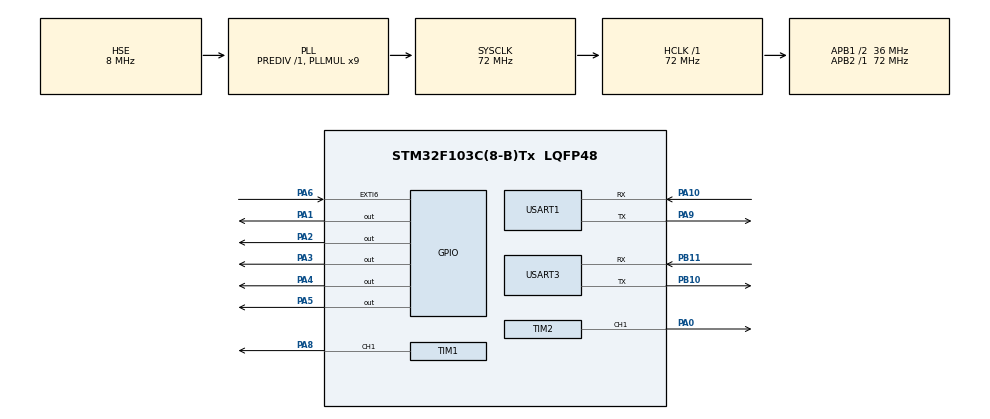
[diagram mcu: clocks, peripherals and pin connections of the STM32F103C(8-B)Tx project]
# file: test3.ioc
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Mcu.Family=STM32F1
Mcu.Name=STM32F103C(8-B)Tx
Mcu.Package=LQFP48
NVIC.EXTI9_5_IRQn=true\:0\:0\:false\:false\:true\:true\:true\:true
NVIC.PriorityGroup=NVIC_PRIORITYGROUP_4
NVIC.USART1_IRQn=true\:0\:0\:false\:false\:true\:true\:true\:true
PA0-WKUP.Signal=S_TIM2_CH1_ETR
PA1.GPIO_PuPd=GPIO_NOPULL
PA1.Signal=GPIO_Output
PA10.Mode=Asynchronous
PA10.Signal=USART1_RX
PA2.Signal=GPIO_Output
PA3.Signal=GPIO_Output
PA4.Signal=GPIO_Output
PA5.Signal=GPIO_Output
PA6.GPIO_ModeDefaultEXTI=GPIO_MODE_IT_FALLING
PA6.Signal=GPXTI6
PA8.Signal=S_TIM1_CH1
PA9.Mode=Asynchronous
PA9.Signal=USART1_TX
PB10.Mode=Asynchronous
PB10.Signal=USART3_TX
PB11.Mode=Asynchronous
PB11.Signal=USART3_RX
PD0-OSC_IN.Mode=HSE-External-Oscillator
PD0-OSC_IN.Signal=RCC_OSC_IN
PD1-OSC_OUT.Mode=HSE-External-Oscillator
PD1-OSC_OUT.Signal=RCC_OSC_OUT
ProjectManager.HeapSize=0x200
ProjectManager.StackSize=0x400
ProjectManager.TargetToolchain=STM32CubeIDE
RCC.AHBFreq_Value=72000000
RCC.APB1CLKDivider=RCC_HCLK_DIV2
RCC.APB1Freq_Value=36000000
RCC.APB1TimFreq_Value=72000000
RCC.APB2Freq_Value=72000000
RCC.APB2TimFreq_Value=72000000
RCC.HCLKFreq_Value=72000000
RCC.PLLMUL=RCC_PLL_MUL9
RCC.PLLSourceVirtual=RCC_PLLSOURCE_HSE
RCC.SYSCLKFreq_VALUE=72000000
RCC.SYSCLKSource=RCC_SYSCLKSOURCE_PLLCLK
RCC.USBFreq_Value=72000000
SH.S_TIM1_CH1.0=TIM1_CH1,Output Compare1 CH1
SH.S_TIM2_CH1_ETR.0=TIM2_CH1,Output Compare1 CH1
TIM1.Channel-Output\ Compare1\ CH1=TIM_CHANNEL_1
TIM1.Period=19999
TIM1.Prescaler=71
TIM2.Channel-Output\ Compare1\ CH1=TIM_CHANNEL_1
TIM2.Prescaler=71
USART1.VirtualMode=VM_ASYNC
USART3.VirtualMode=VM_ASYNC
VP_SYS_VS_ND.Mode=No_Debug
VP_TIM1_VS_ClockSourceINT.Mode=Internal
VP_TIM2_VS_ClockSourceINT.Mode=Internal
board=custom

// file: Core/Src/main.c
/* USER CODE BEGIN Header */
//develop branch
/**
  ******************************************************************************
  * @file           : main.c
  * @brief          : Main program body
  ******************************************************************************
  * @attention
  *
  * Copyright (c) 2024 STMicroelectronics.
  * All rights reserved.
  *
  * This software is licensed under terms that can be found in the LICENSE file
  * in the root directory of this software component.
  * If no LICENSE file comes with this software, it is provided AS-IS.
  *
  ******************************************************************************
  */
#include "stdio.h"
#include "string.h"
/* USER CODE END Header */
#include "main.h"

/* USER CODE BEGIN PTD */
int i = 0;
/* USER CODE END PTD */

TIM_HandleTypeDef htim1;
TIM_HandleTypeDef htim2;

UART_HandleTypeDef huart1;
UART_HandleTypeDef huart3;

void SystemClock_Config(void);
static void MX_GPIO_Init(void);
static void MX_USART1_UART_Init(void);
static void MX_TIM1_Init(void);
static void MX_TIM2_Init(void);
static void MX_USART3_UART_Init(void);
/* USER CODE BEGIN PFP */
/*void HAL_GPIO_EXTI_Callback(uint16_t GPIO_Pin)
{
    HAL_GPIO_TogglePin(GPIOA,GPIO_PIN_5);
    __HAL_TIM_SET_COMPARE(&htim1,TIM_CHANNEL_1,i);
    i=i+500;
}
*/
/* USER CODE END PFP */

/* USER CODE BEGIN 0 */
uint8_t value;
uint8_t RxBuffer[256];//接收数据
uint8_t aRxBuffer;//接收数据缓冲
uint8_t Uart1_Rx_Cnt = 0;//接受缓冲计数
void HAL_UART_RxCpltCallback(UART_HandleTypeDef *huart)
{
    /* Prevent unused argument(s) compilation warning */
    UNUSED(huart);
    /* NOTE: This function Should not be modified, when the callback is needed,
             the HAL_UART_TxCpltCallback could be implemented in the user file
     */

    if(Uart1_Rx_Cnt >= 255)  //溢出判断
    {
        Uart1_Rx_Cnt = 0;
        memset(RxBuffer,0x00,sizeof(RxBuffer));
        HAL_UART_Transmit(&huart1, (uint8_t *)"数据溢出", 10,0xFFFF);
    }
    else
    {
        RxBuffer[Uart1_Rx_Cnt++] = aRxBuffer;
        if((RxBuffer[Uart1_Rx_Cnt-1] == 0x0A)&&(RxBuffer[Uart1_Rx_Cnt-2] == 0x0D)) //判断结束位
        {
            HAL_UART_Transmit(&huart1, (uint8_t *)&RxBuffer, Uart1_Rx_Cnt,10000); //将收到的信息发送出去
            while(HAL_UART_GetState(&huart1) == HAL_UART_STATE_BUSY_TX);//检测UART发送结束
            Uart1_Rx_Cnt = 0;
            memset(RxBuffer,0x00,sizeof(RxBuffer)); //清空数组
        }
    }

    HAL_UART_Receive_IT(&huart1, (uint8_t *)&aRxBuffer, 1);   //因为接收中断使用了一次即关闭，所以在最后加入这行代码即可实现无限使用
}
/* USER CODE END 0 */
//123123131231
void joint1(int angle)//用这个函数来控制舵机1，输入一个角度，产生对应波形来控制舵机1
{
    UNUSED(angle);
}
void joint2(int angle)//用这个函数来控制舵机2，输入一个角度，产生对应波形来控制舵机2
{
    UNUSED(angle);
}

int main(void)
{

  /* MCU Configuration--------------------------------------------------------*/

  /* Reset of all peripherals, Initializes the Flash interface and the Systick. */
  HAL_Init();

  /* Configure the system clock */
  SystemClock_Config();

  /* Initialize all configured peripherals */
  MX_GPIO_Init();
  MX_USART1_UART_Init();
  MX_TIM1_Init();
  MX_TIM2_Init();
  MX_USART3_UART_Init();
  /* USER CODE BEGIN 2 */
  HAL_UART_Receive_IT(&huart1, (uint8_t *)&aRxBuffer, 1);

    /* USER CODE BEGIN 1 */

/* USER CODE END 1 */

  /* USER CODE END 2 */

  /* Infinite loop */
  while (1)
  {

    /* USER CODE BEGIN 3 */
      HAL_UART_Transmit(&huart1,"Reply your input",sizeof("immediately reply your input"),10000);
      HAL_Delay(1000);
      HAL_GPIO_TogglePin(GPIOA,GPIO_PIN_1);
//haha

  }
  /* USER CODE END 3 */
}

void SystemClock_Config(void)
{
  RCC_OscInitTypeDef RCC_OscInitStruct = {0};
  RCC_ClkInitTypeDef RCC_ClkInitStruct = {0};

  /** Initializes the RCC Oscillators according to the specified parameters
  * in the RCC_OscInitTypeDef structure.
  */
  RCC_OscInitStruct.OscillatorType = RCC_OSCILLATORTYPE_HSE;
  RCC_OscInitStruct.HSEState = RCC_HSE_ON;
  RCC_OscInitStruct.HSEPredivValue = RCC_HSE_PREDIV_DIV1;
  RCC_OscInitStruct.HSIState = RCC_HSI_ON;
  RCC_OscInitStruct.PLL.PLLState = RCC_PLL_ON;
  RCC_OscInitStruct.PLL.PLLSource = RCC_PLLSOURCE_HSE;
  RCC_OscInitStruct.PLL.PLLMUL = RCC_PLL_MUL9;
  if (HAL_RCC_OscConfig(&RCC_OscInitStruct) != HAL_OK)
  {
    Error_Handler();
  }

  /** Initializes the CPU, AHB and APB buses clocks
  */
  RCC_ClkInitStruct.ClockType = RCC_CLOCKTYPE_HCLK|RCC_CLOCKTYPE_SYSCLK
                              |RCC_CLOCKTYPE_PCLK1|RCC_CLOCKTYPE_PCLK2;
  RCC_ClkInitStruct.SYSCLKSource = RCC_SYSCLKSOURCE_PLLCLK;
  RCC_ClkInitStruct.AHBCLKDivider = RCC_SYSCLK_DIV1;
  RCC_ClkInitStruct.APB1CLKDivider = RCC_HCLK_DIV2;
  RCC_ClkInitStruct.APB2CLKDivider = RCC_HCLK_DIV1;

  if (HAL_RCC_ClockConfig(&RCC_ClkInitStruct, FLASH_LATENCY_2) != HAL_OK)
  {
    Error_Handler();
  }
}

static void MX_TIM1_Init(void)
{

  TIM_ClockConfigTypeDef sClockSourceConfig = {0};
  TIM_MasterConfigTypeDef sMasterConfig = {0};
  TIM_OC_InitTypeDef sConfigOC = {0};
  TIM_BreakDeadTimeConfigTypeDef sBreakDeadTimeConfig = {0};

  htim1.Instance = TIM1;
  htim1.Init.Prescaler = 71;
  htim1.Init.CounterMode = TIM_COUNTERMODE_UP;
  htim1.Init.Period = 19999;
  htim1.Init.ClockDivision = TIM_CLOCKDIVISION_DIV1;
  htim1.Init.RepetitionCounter = 0;
  htim1.Init.AutoReloadPreload = TIM_AUTORELOAD_PRELOAD_DISABLE;
  if (HAL_TIM_Base_Init(&htim1) != HAL_OK)
  {
    Error_Handler();
  }
  sClockSourceConfig.ClockSource = TIM_CLOCKSOURCE_INTERNAL;
  if (HAL_TIM_ConfigClockSource(&htim1, &sClockSourceConfig) != HAL_OK)
  {
    Error_Handler();
  }
  if (HAL_TIM_OC_Init(&htim1) != HAL_OK)
  {
    Error_Handler();
  }
  sMasterConfig.MasterOutputTrigger = TIM_TRGO_RESET;
  sMasterConfig.MasterSlaveMode = TIM_MASTERSLAVEMODE_DISABLE;
  if (HAL_TIMEx_MasterConfigSynchronization(&htim1, &sMasterConfig) != HAL_OK)
  {
    Error_Handler();
  }
  sConfigOC.OCMode = TIM_OCMODE_TIMING;
  sConfigOC.Pulse = 0;
  sConfigOC.OCPolarity = TIM_OCPOLARITY_HIGH;
  sConfigOC.OCNPolarity = TIM_OCNPOLARITY_HIGH;
  sConfigOC.OCFastMode = TIM_OCFAST_DISABLE;
  sConfigOC.OCIdleState = TIM_OCIDLESTATE_RESET;
  sConfigOC.OCNIdleState = TIM_OCNIDLESTATE_RESET;
  if (HAL_TIM_OC_ConfigChannel(&htim1, &sConfigOC, TIM_CHANNEL_1) != HAL_OK)
  {
    Error_Handler();
  }
  sBreakDeadTimeConfig.OffStateRunMode = TIM_OSSR_DISABLE;
  sBreakDeadTimeConfig.OffStateIDLEMode = TIM_OSSI_DISABLE;
  sBreakDeadTimeConfig.LockLevel = TIM_LOCKLEVEL_OFF;
  sBreakDeadTimeConfig.DeadTime = 0;
  sBreakDeadTimeConfig.BreakState = TIM_BREAK_DISABLE;
  sBreakDeadTimeConfig.BreakPolarity = TIM_BREAKPOLARITY_HIGH;
  sBreakDeadTimeConfig.AutomaticOutput = TIM_AUTOMATICOUTPUT_DISABLE;
  if (HAL_TIMEx_ConfigBreakDeadTime(&htim1, &sBreakDeadTimeConfig) != HAL_OK)
  {
    Error_Handler();
  }
  HAL_TIM_MspPostInit(&htim1);

}

static void MX_TIM2_Init(void)
{

  TIM_ClockConfigTypeDef sClockSourceConfig = {0};
  TIM_MasterConfigTypeDef sMasterConfig = {0};
  TIM_OC_InitTypeDef sConfigOC = {0};

  htim2.Instance = TIM2;
  htim2.Init.Prescaler = 71;
  htim2.Init.CounterMode = TIM_COUNTERMODE_UP;
  htim2.Init.Period = 65535;
  htim2.Init.ClockDivision = TIM_CLOCKDIVISION_DIV1;
  htim2.Init.AutoReloadPreload = TIM_AUTORELOAD_PRELOAD_DISABLE;
  if (HAL_TIM_Base_Init(&htim2) != HAL_OK)
  {
    Error_Handler();
  }
  sClockSourceConfig.ClockSource = TIM_CLOCKSOURCE_INTERNAL;
  if (HAL_TIM_ConfigClockSource(&htim2, &sClockSourceConfig) != HAL_OK)
  {
    Error_Handler();
  }
  if (HAL_TIM_OC_Init(&htim2) != HAL_OK)
  {
    Error_Handler();
  }
  sMasterConfig.MasterOutputTrigger = TIM_TRGO_RESET;
  sMasterConfig.MasterSlaveMode = TIM_MASTERSLAVEMODE_DISABLE;
  if (HAL_TIMEx_MasterConfigSynchronization(&htim2, &sMasterConfig) != HAL_OK)
  {
    Error_Handler();
  }
  sConfigOC.OCMode = TIM_OCMODE_TIMING;
  sConfigOC.Pulse = 0;
  sConfigOC.OCPolarity = TIM_OCPOLARITY_HIGH;
  sConfigOC.OCFastMode = TIM_OCFAST_DISABLE;
  if (HAL_TIM_OC_ConfigChannel(&htim2, &sConfigOC, TIM_CHANNEL_1) != HAL_OK)
  {
    Error_Handler();
  }
  HAL_TIM_MspPostInit(&htim2);

}

static void MX_USART1_UART_Init(void)
{

  huart1.Instance = USART1;
  huart1.Init.BaudRate = 115200;
  huart1.Init.WordLength = UART_WORDLENGTH_8B;
  huart1.Init.StopBits = UART_STOPBITS_1;
  huart1.Init.Parity = UART_PARITY_NONE;
  huart1.Init.Mode = UART_MODE_TX_RX;
  huart1.Init.HwFlowCtl = UART_HWCONTROL_NONE;
  huart1.Init.OverSampling = UART_OVERSAMPLING_16;
  if (HAL_UART_Init(&huart1) != HAL_OK)
  {
    Error_Handler();
  }

}

static void MX_USART3_UART_Init(void)
{

  huart3.Instance = USART3;
  huart3.Init.BaudRate = 115200;
  huart3.Init.WordLength = UART_WORDLENGTH_8B;
  huart3.Init.StopBits = UART_STOPBITS_1;
  huart3.Init.Parity = UART_PARITY_NONE;
  huart3.Init.Mode = UART_MODE_TX_RX;
  huart3.Init.HwFlowCtl = UART_HWCONTROL_NONE;
  huart3.Init.OverSampling = UART_OVERSAMPLING_16;
  if (HAL_UART_Init(&huart3) != HAL_OK)
  {
    Error_Handler();
  }

}

static void MX_GPIO_Init(void)
{
  GPIO_InitTypeDef GPIO_InitStruct = {0};

  /* GPIO Ports Clock Enable */
  __HAL_RCC_GPIOD_CLK_ENABLE();
  __HAL_RCC_GPIOA_CLK_ENABLE();
  __HAL_RCC_GPIOB_CLK_ENABLE();

  /*Configure GPIO pin Output Level */
  HAL_GPIO_WritePin(GPIOA, GPIO_PIN_1|GPIO_PIN_2|GPIO_PIN_3|GPIO_PIN_4
                          |GPIO_PIN_5, GPIO_PIN_RESET);

  /*Configure GPIO pins : PA1 PA2 PA3 PA4
                           PA5 */
  GPIO_InitStruct.Pin = GPIO_PIN_1|GPIO_PIN_2|GPIO_PIN_3|GPIO_PIN_4
                          |GPIO_PIN_5;
  GPIO_InitStruct.Mode = GPIO_MODE_OUTPUT_PP;
  GPIO_InitStruct.Pull = GPIO_NOPULL;
  GPIO_InitStruct.Speed = GPIO_SPEED_FREQ_LOW;
  HAL_GPIO_Init(GPIOA, &GPIO_InitStruct);

  /*Configure GPIO pin : PA6 */
  GPIO_InitStruct.Pin = GPIO_PIN_6;
  GPIO_InitStruct.Mode = GPIO_MODE_IT_FALLING;
  GPIO_InitStruct.Pull = GPIO_NOPULL;
  HAL_GPIO_Init(GPIOA, &GPIO_InitStruct);

  /* EXTI interrupt init*/
  HAL_NVIC_SetPriority(EXTI9_5_IRQn, 0, 0);
  HAL_NVIC_EnableIRQ(EXTI9_5_IRQn);

}

void Error_Handler(void)
{
  __disable_irq();
  while (1)
  {
  }
}
